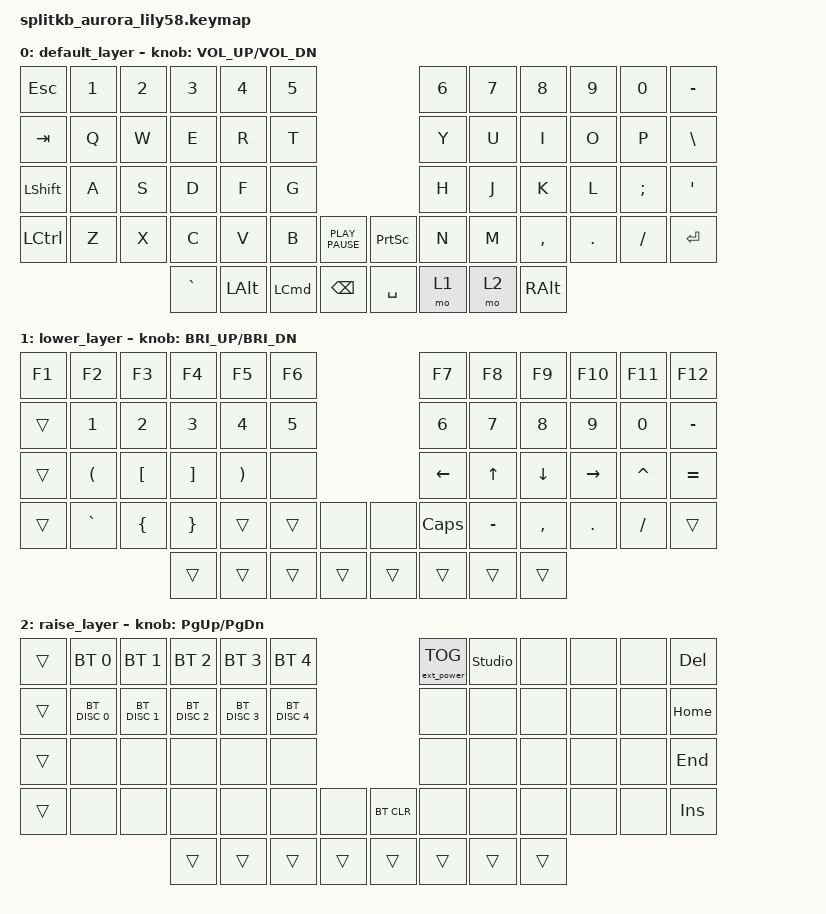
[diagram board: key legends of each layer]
/*
 * Copyright (c) 2022 The ZMK Contributors
 *
 * SPDX-License-Identifier: MIT
 */

#include <behaviors.dtsi>
#include <dt-bindings/zmk/keys.h>
#include <dt-bindings/zmk/bt.h>
#include <dt-bindings/zmk/ext_power.h>

/ {
    keymap {
        compatible = "zmk,keymap";

        default_layer {
            bindings = <
&kp ESC           &kp N1   &kp N2   &kp N3   &kp N4    &kp N5                                        &kp N6  &kp N7     &kp N8     &kp N9    &kp N0      &kp MINUS
&kp TAB           &kp Q    &kp W    &kp E    &kp R     &kp T                                         &kp Y   &kp U      &kp I      &kp O     &kp P       &kp BACKSLASH
&kp LSHFT         &kp A    &kp S    &kp D    &kp F     &kp G                                         &kp H   &kp J      &kp K      &kp L     &kp SEMI    &kp SQT
&kp LEFT_CONTROL  &kp Z    &kp X    &kp C    &kp V     &kp B       &kp K_PLAY_PAUSE   &kp PSCRN     &kp N   &kp M      &kp COMMA  &kp DOT   &kp FSLH    &kp RET
                       &kp GRAVE   &kp LEFT_ALT  &kp LEFT_COMMAND  &kp BACKSPACE      &kp SPACE          &mo 1       &mo 2   &kp RIGHT_ALT
            >;

            sensor-bindings = <&inc_dec_kp C_VOL_UP C_VOL_DN>;
        };

        lower_layer {
            bindings = <
&kp F1    &kp F2      &kp F3      &kp F4      &kp F5      &kp F6                        &kp F7          &kp F8          &kp F9          &kp F10           &kp F11     &kp F12
&trans    &kp N1      &kp N2      &kp N3      &kp N4      &kp N5                        &kp N6          &kp N7          &kp N8          &kp N9            &kp N0      &kp MINUS
&trans    &kp LPAR    &kp LBKT    &kp RBKT    &kp RPAR    &none                         &kp LEFT_ARROW  &kp UP_ARROW    &kp DOWN_ARROW  &kp RIGHT_ARROW   &kp CARET    &kp EQUAL
&trans    &kp GRAVE   &kp LBRC    &kp RBRC    &trans      &trans    &none     &none     &kp CAPSLOCK    &kp MINUS       &kp COMMA       &kp DOT           &kp SLASH   &trans
                                        &trans  &trans  &trans      &trans    &trans    &trans  &trans  &trans
            >;

            sensor-bindings = <&inc_dec_kp C_BRI_UP C_BRI_DN>;
        };

        raise_layer {
            bindings = <
&trans  &bt BT_SEL 0     &bt BT_SEL 1     &bt BT_SEL 2     &bt BT_SEL 3     &bt BT_SEL 4                                         &ext_power EP_TOG             &studio_unlock   &none            &none            &none            &kp DELETE
&trans  &bt BT_DISC 0    &bt BT_DISC 1    &bt BT_DISC 2    &bt BT_DISC 3    &bt BT_DISC 4                                        &none                         &none            &none            &none            &none            &kp HOME
&trans  &none            &none            &none            &none            &none                                                &none                         &none            &none            &none            &none            &kp END    
&trans  &none            &none            &none            &none            &none        &none                   &bt BT_CLR      &none                         &none            &none            &none            &none            &kp INSERT
                                                  &trans     &trans      &trans          &trans                  &trans          &trans  &trans  &trans
            >;

            sensor-bindings = <&inc_dec_kp PG_UP PG_DN>;
        };
    };
};
